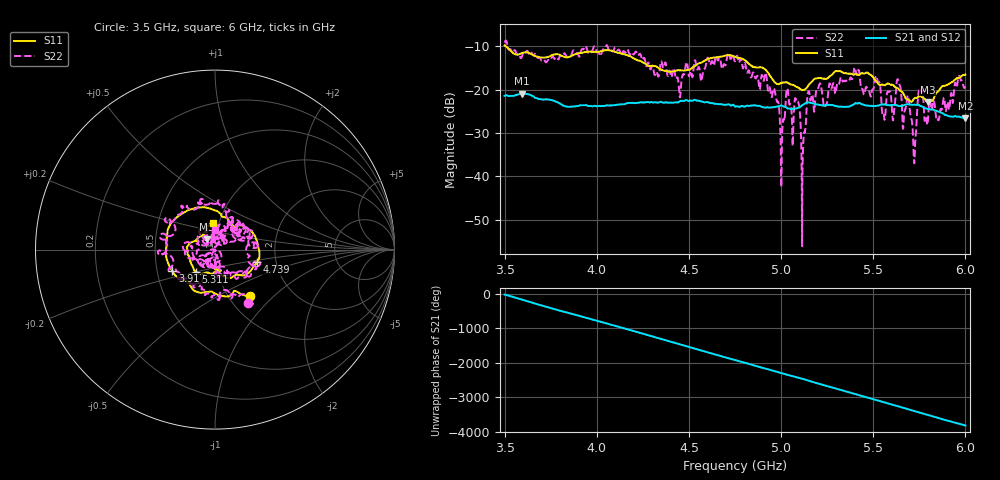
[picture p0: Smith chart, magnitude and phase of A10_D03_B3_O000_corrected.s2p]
! Created with skrf 1.9.0 (http://scikit-rf.org).
# Hz S RI R 50.0
!freq ReS11 ImS11 ReS21 ImS21 ReS12 ImS12 ReS22 ImS22
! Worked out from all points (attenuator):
!   1601 points, 3.5 GHz to 6 GHz, reference 50 ohm
!   highest |S21| = -20.93 dB at 3.592 GHz (marker M1); lowest = -26.6 dB at 6 GHz (marker M2)
!   lowest |S11| = -22.8 dB at 5.795 GHz (marker M3), VSWR 1.16, Z = 45.5 + j5.18 ohm
!   |S11| at or under -10 dB: 3.508 GHz to end of sweep
!   |S22| runs from -56.1 to -8.6 dB; largest |S21 - S12| = 0.001
!   S11 on the Smith chart (normalised r, x): 3.5 GHz: 1.26, -0.72; 3.917 GHz: 0.60, -0.15; 4.739 GHz: 1.59, -0.24; 5.311 GHz: 0.79, -0.20; 6 GHz: 0.94, +0.29
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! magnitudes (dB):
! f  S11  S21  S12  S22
! 3.5 GHz  -9.8  -21.4  -21.4  -9.1
! 3.592 GHz  -11.6  -20.9  -20.9  -12.5
! 3.917 GHz  -11.5  -23.6  -23.6  -10.7
! 4.334 GHz  -15.0  -23.0  -22.9  -17.0
! 4.739 GHz  -12.2  -23.5  -23.5  -11.9
! 4.75 GHz  -12.4  -23.9  -23.8  -13.5
! 4.966 GHz  -18.3  -24.0  -24.0  -20.2
! 5.006 GHz  -18.4  -23.7  -23.7  -29.7
! 5.034 GHz  -18.4  -24.3  -24.2  -19.8
! 5.088 GHz  -19.4  -24.3  -24.3  -22.7
! 5.119 GHz  -20.1  -23.5  -23.4  -34.0
! 5.145 GHz  -19.2  -22.9  -22.9  -20.8
! 5.167 GHz  -18.1  -23.1  -23.0  -21.2
! 5.311 GHz  -15.7  -23.9  -23.9  -18.8
! 5.522 GHz  -18.3  -23.7  -23.7  -17.6
! 5.558 GHz  -18.9  -23.4  -23.4  -25.8
! 5.584 GHz  -18.6  -23.6  -23.5  -20.4
! 5.639 GHz  -19.9  -23.7  -23.7  -18.3
! 5.722 GHz  -22.0  -23.5  -23.4  -37.0
! 5.755 GHz  -21.5  -23.7  -23.7  -20.7
! 5.795 GHz  -22.8  -24.5  -24.4  -27.8
! 6 GHz  -16.5  -26.6  -26.5  -19.2
